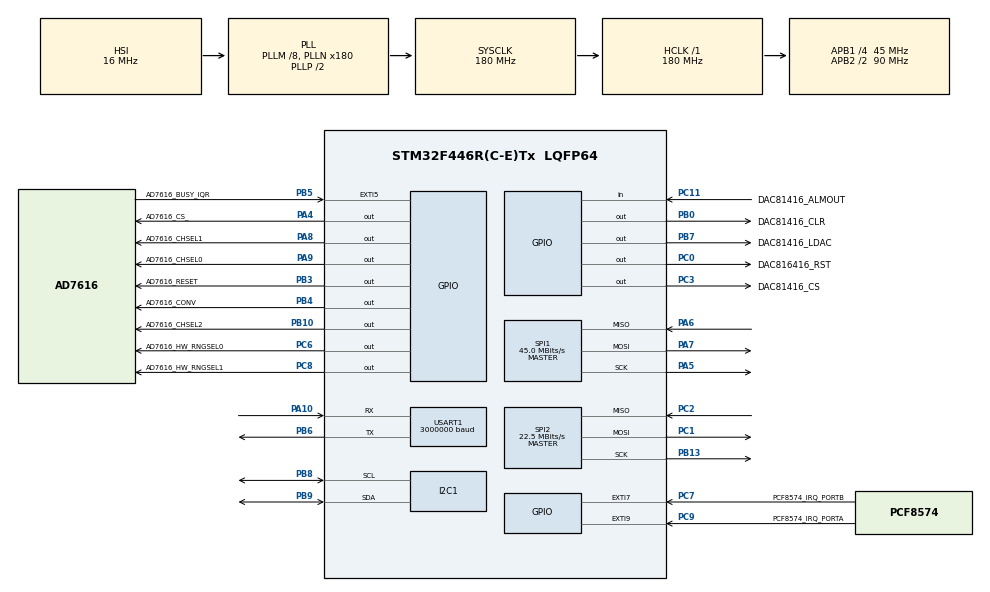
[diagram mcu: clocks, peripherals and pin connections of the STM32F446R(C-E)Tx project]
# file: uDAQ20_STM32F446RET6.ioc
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I2C1.I2C_Mode=I2C_Fast
Mcu.Family=STM32F4
Mcu.Name=STM32F446R(C-E)Tx
Mcu.Package=LQFP64
NVIC.EXTI9_5_IRQn=true\:0\:0\:false\:false\:true\:true\:true\:true
NVIC.I2C1_EV_IRQn=true\:0\:0\:false\:false\:true\:true\:true\:true
NVIC.PriorityGroup=NVIC_PRIORITYGROUP_4
NVIC.SPI1_IRQn=true\:0\:0\:false\:false\:true\:true\:true\:true
NVIC.SPI2_IRQn=true\:0\:0\:false\:false\:true\:true\:true\:true
NVIC.TIM2_IRQn=true\:0\:0\:false\:false\:true\:true\:true\:true
NVIC.TIM5_IRQn=true\:0\:0\:false\:false\:true\:true\:true\:true
NVIC.TIM7_IRQn=true\:0\:0\:false\:false\:true\:true\:true\:true
NVIC.USART1_IRQn=true\:0\:0\:false\:false\:true\:true\:true\:true
PA10.Mode=Asynchronous
PA10.Signal=USART1_RX
PA13.Mode=Serial_Wire
PA13.Signal=SYS_JTMS-SWDIO
PA14.Mode=Serial_Wire
PA14.Signal=SYS_JTCK-SWCLK
PA4.GPIO_Label=AD7616_CS_
PA4.GPIO_Speed=GPIO_SPEED_FREQ_VERY_HIGH
PA4.PinState=GPIO_PIN_SET
PA4.Signal=GPIO_Output
PA5.GPIO_PuPd=GPIO_NOPULL
PA5.Mode=Full_Duplex_Master
PA5.Signal=SPI1_SCK
PA6.GPIO_PuPd=GPIO_PULLDOWN
PA6.Mode=Full_Duplex_Master
PA6.Signal=SPI1_MISO
PA7.GPIO_PuPd=GPIO_NOPULL
PA7.Mode=Full_Duplex_Master
PA7.Signal=SPI1_MOSI
PA8.GPIO_Label=AD7616_CHSEL1
PA8.GPIO_Speed=GPIO_SPEED_FREQ_VERY_HIGH
PA8.Signal=GPIO_Output
PA9.GPIO_Label=AD7616_CHSEL0
PA9.GPIO_Speed=GPIO_SPEED_FREQ_VERY_HIGH
PA9.Signal=GPIO_Output
PB0.GPIO_Label=DAC81416_CLR
PB0.GPIO_Speed=GPIO_SPEED_FREQ_VERY_HIGH
PB0.PinState=GPIO_PIN_SET
PB0.Signal=GPIO_Output
PB10.GPIO_Label=AD7616_CHSEL2
PB10.GPIO_Speed=GPIO_SPEED_FREQ_VERY_HIGH
PB10.Signal=GPIO_Output
PB13.Mode=Full_Duplex_Master
PB13.Signal=SPI2_SCK
PB3.GPIO_Label=AD7616_RESET
PB3.GPIO_Speed=GPIO_SPEED_FREQ_VERY_HIGH
PB3.Signal=GPIO_Output
PB4.GPIO_Label=AD7616_CONV
PB4.GPIO_Speed=GPIO_SPEED_FREQ_VERY_HIGH
PB4.Signal=GPIO_Output
PB5.GPIO_Label=AD7616_BUSY_IQR
PB5.GPIO_ModeDefaultEXTI=GPIO_MODE_IT_FALLING
PB5.GPIO_PuPd=GPIO_NOPULL
PB5.Signal=GPXTI5
PB6.Mode=Asynchronous
PB6.Signal=USART1_TX
PB7.GPIO_Label=DAC81416_LDAC
PB7.GPIO_Speed=GPIO_SPEED_FREQ_VERY_HIGH
PB7.PinState=GPIO_PIN_SET
PB7.Signal=GPIO_Output
PB8.Mode=I2C
PB8.Signal=I2C1_SCL
PB9.Mode=I2C
PB9.Signal=I2C1_SDA
PC0.GPIO_Label=DAC816416_RST
PC0.GPIO_Speed=GPIO_SPEED_FREQ_VERY_HIGH
PC0.PinState=GPIO_PIN_SET
PC0.Signal=GPIO_Output
PC1.Mode=Full_Duplex_Master
PC1.Signal=SPI2_MOSI
PC11.GPIO_Label=DAC81416_ALMOUT
PC11.GPIO_PuPd=GPIO_PULLUP
PC11.Signal=GPIO_Input
PC2.Mode=Full_Duplex_Master
PC2.Signal=SPI2_MISO
PC3.GPIO_Label=DAC81416_CS
PC3.GPIO_Speed=GPIO_SPEED_FREQ_VERY_HIGH
PC3.PinState=GPIO_PIN_SET
PC3.Signal=GPIO_Output
PC6.GPIO_Label=AD7616_HW_RNGSEL0
PC6.GPIO_Speed=GPIO_SPEED_FREQ_VERY_HIGH
PC6.Signal=GPIO_Output
PC7.GPIO_Label=PCF8574_IRQ_PORTB
PC7.Signal=GPXTI7
PC8.GPIO_Label=AD7616_HW_RNGSEL1
PC8.GPIO_Speed=GPIO_SPEED_FREQ_VERY_HIGH
PC8.Signal=GPIO_Output
PC9.GPIO_Label=PCF8574_IRQ_PORTA
PC9.Signal=GPXTI9
PH0-OSC_IN.Mode=HSE-External-Oscillator
PH0-OSC_IN.Signal=RCC_OSC_IN
PH1-OSC_OUT.Mode=HSE-External-Oscillator
PH1-OSC_OUT.Signal=RCC_OSC_OUT
ProjectManager.HeapSize=0x200
ProjectManager.StackSize=0x400
ProjectManager.TargetToolchain=STM32CubeIDE
RCC.AHBFreq_Value=180000000
RCC.APB1CLKDivider=RCC_HCLK_DIV4
RCC.APB1Freq_Value=45000000
RCC.APB1TimFreq_Value=90000000
RCC.APB2CLKDivider=RCC_HCLK_DIV2
RCC.APB2Freq_Value=90000000
RCC.APB2TimFreq_Value=180000000
RCC.CortexFreq_Value=180000000
RCC.HCLKFreq_Value=180000000
RCC.HSE_VALUE=16000000
RCC.PLLM=8
RCC.PLLN=180
RCC.PLLQ=8
RCC.PLLSAIM=8
RCC.PLLSAIN=96
RCC.PLLSAIP=RCC_PLLSAIP_DIV4
RCC.SYSCLKFreq_VALUE=180000000
RCC.SYSCLKSource=RCC_SYSCLKSOURCE_PLLCLK
RCC.USBCLockSelection=RCC_CLK48CLKSOURCE_PLLSAIP
RCC.USBFreq_Value=48000000
RCC.VCOOutputFreq_Value=360000000
SPI1.BaudRatePrescaler=SPI_BAUDRATEPRESCALER_2
SPI1.CLKPhase=SPI_PHASE_2EDGE
SPI1.CalculateBaudRate=45.0 MBits/s
SPI1.DataSize=SPI_DATASIZE_8BIT
SPI1.Direction=SPI_DIRECTION_2LINES
SPI1.FirstBit=SPI_FIRSTBIT_MSB
SPI1.Mode=SPI_MODE_MASTER
SPI1.VirtualType=VM_MASTER
SPI2.BaudRatePrescaler=SPI_BAUDRATEPRESCALER_2
SPI2.CLKPhase=SPI_PHASE_2EDGE
SPI2.CLKPolarity=SPI_POLARITY_LOW
SPI2.CalculateBaudRate=22.5 MBits/s
SPI2.Direction=SPI_DIRECTION_2LINES
SPI2.FirstBit=SPI_FIRSTBIT_MSB
SPI2.Mode=SPI_MODE_MASTER
SPI2.VirtualType=VM_MASTER
TIM2.Prescaler=90-1
TIM5.Prescaler=90-1
TIM7.Prescaler=90-1
USART1.BaudRate=3000000
USART1.OverSampling=UART_OVERSAMPLING_16
USART1.VirtualMode=VM_ASYNC
VP_TIM2_VS_ClockSourceINT.Mode=Internal
VP_TIM5_VS_ClockSourceINT.Mode=Internal
VP_TIM7_VS_ClockSourceINT.Mode=Enable_Timer
board=custom

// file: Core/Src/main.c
/* USER CODE BEGIN Header */
/**
  ******************************************************************************
  * @file           : main.c
  * @brief          : Main program body
  ******************************************************************************
  * @attention
  *
  * Copyright (c) 2025 STMicroelectronics.
  * All rights reserved.
  *
  * This software is licensed under terms that can be found in the LICENSE file
  * in the root directory of this software component.
  * If no LICENSE file comes with this software, it is provided AS-IS.
  *
  ******************************************************************************
  */
/* USER CODE END Header */
#include "main.h"

/* USER CODE BEGIN Includes */
#include "Drv_AD7616.h"
#include "Drv_SoftDelay.h"
#include "DRV_DAC81416.h"
#include "DRV_PCF8574.h"
#include "Appl_ADC.h"
#include "Appl_DAC.h"
#include "Appl_GPIOExpander.h"
#include "Appl_Communication.h"
#include "ApplicationLayer.h"
/* USER CODE END Includes */

I2C_HandleTypeDef hi2c1;

SPI_HandleTypeDef hspi1;
SPI_HandleTypeDef hspi2;

TIM_HandleTypeDef htim2;
TIM_HandleTypeDef htim5;
TIM_HandleTypeDef htim7;

UART_HandleTypeDef huart1;

void SystemClock_Config(void);
static void MX_GPIO_Init(void);
static void MX_SPI1_Init(void);
static void MX_I2C1_Init(void);
static void MX_SPI2_Init(void);
static void MX_TIM5_Init(void);
static void MX_TIM2_Init(void);
static void MX_TIM7_Init(void);
static void MX_USART1_UART_Init(void);
/* USER CODE BEGIN PFP */
void HAL_TIM_PeriodElapsedCallback(TIM_HandleTypeDef *htim)
{
  /* USER CODE BEGIN Callback 0 */

  /* USER CODE END Callback 0 */
  /* USER CODE BEGIN Callback 1 */
  if (htim->Instance == TIM5)/*Timer 5 is used for start of conversion cycle for ADC AD7616*/
  {
	  ISRCallback_Ad7616_TriggerAdcConverison();/*Trigger ADC conversion*/
  }

  if (htim->Instance == TIM2)/*Timer 2 is used for DAC sync : DAC816416*/
  {
	  ISR_CallbackDAC81416_Sync();/*Trigger DAC*/
  }

  if (htim->Instance == TIM7)/*Timer 7 is used for PCF8574*/
  {
	  ISR_Callback_PCF8574SYNC();
  }
  /* USER CODE END Callback 1 */
}
/*
 * UART 1 is used for Communication
 */
UART_HandleTypeDef *GetInstance_Communication_UART1(void)
{
	return (&huart1);
}
/*
 * Tiner 2 is used for DAC output sync DAC816416
 */
TIM_HandleTypeDef *GetInstance_DAC816416SYNC_TIM2(void)
{
	return (&htim2);
}
/*
 * Tiner 5 is used for conversion start trigger for ADC AD7616
 */
TIM_HandleTypeDef *GetInstance_AD7616SOC_TIM5(void)
{
	return (&htim5);
}
/*
 * Tiner 5 is used for conversion start trigger for ADC AD7616
 */
TIM_HandleTypeDef *GetInstance_PCF8574GPIO_SYNC_TIM7(void)
{
	return (&htim7);
}
/*
 * SPI 1 is used for ADC
 */
SPI_HandleTypeDef *GetInstance_SPI1(void)
{
	return (&hspi1);
}
/*
 * SPI 2 is used for DAC
 */
SPI_HandleTypeDef *GetInstance_SPI2(void)
{
	return (&hspi2);
}
/*
 * I2C 1 is used for PCF8574
 */
I2C_HandleTypeDef* GetInstance_I2C1(void)
{
	return &hi2c1;
}
/* USER CODE END PFP */

/* USER CODE BEGIN 0 */
/*********************.HAL_GPIO_EXTI_Callback().*****************************
 .Purpose        : Callback for GPIO interrupt Rising and falling
 .Returns        :  RETURN_ERROR
					RETURN_SUCCESS
 .Note           :
 ****************************************************************************/
void HAL_GPIO_EXTI_Callback(uint16_t GPIO_Pin)
{
	if(GPIO_Pin == GPIO_PIN_5)/*ISR for AD7616 BUSY PIN*/
	{
		/* ISR for IO Start */
		ISRCallback_Ad7616_Busy();
		/*  ISR for IO End */
	}

	if(GPIO_Pin == GPIO_PIN_9)/*IRQ pin of PCF8574 module A*/
	{
		/* ISR for IO Start */
		Callback_PCF8574_IRQ_PORTA();
		/*  ISR for IO End */
	}

	if(GPIO_Pin == GPIO_PIN_7)/*IRQ pin of PCF8574 module B*/
	{
		/* ISR for IO Start */
		Callback_PCF8574_IRQ_PORTB();
		/*  ISR for IO End */
	}

}
/*********************.HAL_GPIO_EXTI_Callback().*****************************
 .Purpose        : Callback for GPIO interrupt Rising and falling
 .Returns        :  RETURN_ERROR
					RETURN_SUCCESS
 .Note           :
 ****************************************************************************/
void HAL_SPI_RxCpltCallback(SPI_HandleTypeDef * hspi)
{
	if(hspi == GetInstance_SPI1())
	{
		/*AD7616 IRQ*/
		Callback_AD7616RxComplete();
	}

	if(hspi == GetInstance_SPI2())
	{
		/*DAC81416 IRQ*/
		Callback_DAC81416RxComplete();
	}
}
/*********************.HAL_GPIO_EXTI_Callback().*****************************
 .Purpose        : Callback for GPIO interrupt Rising and falling
 .Returns        :  RETURN_ERROR
					RETURN_SUCCESS
 .Note           :
 ****************************************************************************/
void HAL_SPI_TxCpltCallback(SPI_HandleTypeDef * hspi)
{
	if(hspi == GetInstance_SPI1())
	{
		/*AD7616 IRQ*/
		Callback_AD7616TxComplete();
	}

	if(hspi == GetInstance_SPI2())
	{
		/*DAC81416 IRQ*/
		Callback_DAC81416TxComplete();
	}
}
/*********************.HAL_GPIO_EXTI_Callback().*****************************
 .Purpose        : Callback for GPIO interrupt Rising and falling
 .Returns        :  RETURN_ERROR
					RETURN_SUCCESS
 .Note           :
 ****************************************************************************/
void HAL_SPI_TxRxCpltCallback(SPI_HandleTypeDef *hspi)
{

}
/*********************.HAL_I2C_MasterTxCpltCallback().************************
 .Purpose        : Callback for transmission complete for IT & DMA
 .Returns        :  RETURN_ERROR
					RETURN_SUCCESS
 .Note           :
 ****************************************************************************/
void HAL_I2C_MasterTxCpltCallback(I2C_HandleTypeDef *hi2c)
{
	if(hi2c == GetInstance_I2C1())
	{
		/*PCF8574 IRQ*/
		Callback_I2C1_TxComplete();
	}
}
/*********************.HAL_I2C_MasterTxCpltCallback().************************
 .Purpose        : Callback for transmission complete for IT & DMA
 .Returns        :  RETURN_ERROR
					RETURN_SUCCESS
 .Note           :
 ****************************************************************************/
void HAL_I2C_MasterRxCpltCallback(I2C_HandleTypeDef *hi2c)
{
	if(hi2c == GetInstance_I2C1())
	{
		/*PCF8574 IRQ*/
		Callback_I2C1_RxComplete();
	}
}
/*********************.HAL_I2C_MasterTxCpltCallback().************************
 .Purpose        : Callback for transmission complete for IT & DMA
 .Returns        :  RETURN_ERROR
					RETURN_SUCCESS
 .Note           :
 ****************************************************************************/
void HAL_UART_TxCpltCallback(UART_HandleTypeDef *huart)
{
	if (huart->Instance == USART1)
	{
		Callback_Communication_Uart_TxCompleted();
	}
}
/* USER CODE END 0 */

int main(void)
{

  /* MCU Configuration--------------------------------------------------------*/

  /* Reset of all peripherals, Initializes the Flash interface and the Systick. */
  HAL_Init();

  /* Configure the system clock */
  SystemClock_Config();

  /* Initialize all configured peripherals */
  MX_GPIO_Init();
  MX_SPI1_Init();
  MX_I2C1_Init();
  MX_SPI2_Init();
  MX_TIM5_Init();
  MX_TIM2_Init();
  MX_TIM7_Init();
  MX_USART1_UART_Init();

  /* Infinite loop */
  /* USER CODE BEGIN WHILE */
  ApplicationLayer_Init();

  while (1)
  {

	 ApplicationLayer_Exe();
    /* USER CODE END WHILE */

  }
}

void SystemClock_Config(void)
{
  RCC_OscInitTypeDef RCC_OscInitStruct = {0};
  RCC_ClkInitTypeDef RCC_ClkInitStruct = {0};

  /** Configure the main internal regulator output voltage
  */
  __HAL_RCC_PWR_CLK_ENABLE();
  __HAL_PWR_VOLTAGESCALING_CONFIG(PWR_REGULATOR_VOLTAGE_SCALE1);

  /** Initializes the RCC Oscillators according to the specified parameters
  * in the RCC_OscInitTypeDef structure.
  */
  RCC_OscInitStruct.OscillatorType = RCC_OSCILLATORTYPE_HSI;
  RCC_OscInitStruct.HSIState = RCC_HSI_ON;
  RCC_OscInitStruct.HSICalibrationValue = RCC_HSICALIBRATION_DEFAULT;
  RCC_OscInitStruct.PLL.PLLState = RCC_PLL_ON;
  RCC_OscInitStruct.PLL.PLLSource = RCC_PLLSOURCE_HSI;
  RCC_OscInitStruct.PLL.PLLM = 8;
  RCC_OscInitStruct.PLL.PLLN = 180;
  RCC_OscInitStruct.PLL.PLLP = RCC_PLLP_DIV2;
  RCC_OscInitStruct.PLL.PLLQ = 8;
  RCC_OscInitStruct.PLL.PLLR = 2;
  if (HAL_RCC_OscConfig(&RCC_OscInitStruct) != HAL_OK)
  {
    Error_Handler();
  }

  /** Activate the Over-Drive mode
  */
  if (HAL_PWREx_EnableOverDrive() != HAL_OK)
  {
    Error_Handler();
  }

  /** Initializes the CPU, AHB and APB buses clocks
  */
  RCC_ClkInitStruct.ClockType = RCC_CLOCKTYPE_HCLK|RCC_CLOCKTYPE_SYSCLK
                              |RCC_CLOCKTYPE_PCLK1|RCC_CLOCKTYPE_PCLK2;
  RCC_ClkInitStruct.SYSCLKSource = RCC_SYSCLKSOURCE_PLLCLK;
  RCC_ClkInitStruct.AHBCLKDivider = RCC_SYSCLK_DIV1;
  RCC_ClkInitStruct.APB1CLKDivider = RCC_HCLK_DIV4;
  RCC_ClkInitStruct.APB2CLKDivider = RCC_HCLK_DIV2;

  if (HAL_RCC_ClockConfig(&RCC_ClkInitStruct, FLASH_LATENCY_5) != HAL_OK)
  {
    Error_Handler();
  }
}

static void MX_I2C1_Init(void)
{

  hi2c1.Instance = I2C1;
  hi2c1.Init.ClockSpeed = 400000;
  hi2c1.Init.DutyCycle = I2C_DUTYCYCLE_2;
  hi2c1.Init.OwnAddress1 = 0;
  hi2c1.Init.AddressingMode = I2C_ADDRESSINGMODE_7BIT;
  hi2c1.Init.DualAddressMode = I2C_DUALADDRESS_DISABLE;
  hi2c1.Init.OwnAddress2 = 0;
  hi2c1.Init.GeneralCallMode = I2C_GENERALCALL_DISABLE;
  hi2c1.Init.NoStretchMode = I2C_NOSTRETCH_DISABLE;
  if (HAL_I2C_Init(&hi2c1) != HAL_OK)
  {
    Error_Handler();
  }

}

static void MX_SPI1_Init(void)
{

  /* SPI1 parameter configuration*/
  hspi1.Instance = SPI1;
  hspi1.Init.Mode = SPI_MODE_MASTER;
  hspi1.Init.Direction = SPI_DIRECTION_2LINES;
  hspi1.Init.DataSize = SPI_DATASIZE_8BIT;
  hspi1.Init.CLKPolarity = SPI_POLARITY_LOW;
  hspi1.Init.CLKPhase = SPI_PHASE_2EDGE;
  hspi1.Init.NSS = SPI_NSS_SOFT;
  hspi1.Init.BaudRatePrescaler = SPI_BAUDRATEPRESCALER_2;
  hspi1.Init.FirstBit = SPI_FIRSTBIT_MSB;
  hspi1.Init.TIMode = SPI_TIMODE_DISABLE;
  hspi1.Init.CRCCalculation = SPI_CRCCALCULATION_DISABLE;
  hspi1.Init.CRCPolynomial = 10;
  if (HAL_SPI_Init(&hspi1) != HAL_OK)
  {
    Error_Handler();
  }

}

static void MX_SPI2_Init(void)
{

  /* SPI2 parameter configuration*/
  hspi2.Instance = SPI2;
  hspi2.Init.Mode = SPI_MODE_MASTER;
  hspi2.Init.Direction = SPI_DIRECTION_2LINES;
  hspi2.Init.DataSize = SPI_DATASIZE_8BIT;
  hspi2.Init.CLKPolarity = SPI_POLARITY_LOW;
  hspi2.Init.CLKPhase = SPI_PHASE_2EDGE;
  hspi2.Init.NSS = SPI_NSS_SOFT;
  hspi2.Init.BaudRatePrescaler = SPI_BAUDRATEPRESCALER_2;
  hspi2.Init.FirstBit = SPI_FIRSTBIT_MSB;
  hspi2.Init.TIMode = SPI_TIMODE_DISABLE;
  hspi2.Init.CRCCalculation = SPI_CRCCALCULATION_DISABLE;
  hspi2.Init.CRCPolynomial = 10;
  if (HAL_SPI_Init(&hspi2) != HAL_OK)
  {
    Error_Handler();
  }

}

static void MX_TIM2_Init(void)
{

  TIM_ClockConfigTypeDef sClockSourceConfig = {0};
  TIM_MasterConfigTypeDef sMasterConfig = {0};

  htim2.Instance = TIM2;
  htim2.Init.Prescaler = 90-1;
  htim2.Init.CounterMode = TIM_COUNTERMODE_UP;
  htim2.Init.Period = 4294967295;
  htim2.Init.ClockDivision = TIM_CLOCKDIVISION_DIV1;
  htim2.Init.AutoReloadPreload = TIM_AUTORELOAD_PRELOAD_DISABLE;
  if (HAL_TIM_Base_Init(&htim2) != HAL_OK)
  {
    Error_Handler();
  }
  sClockSourceConfig.ClockSource = TIM_CLOCKSOURCE_INTERNAL;
  if (HAL_TIM_ConfigClockSource(&htim2, &sClockSourceConfig) != HAL_OK)
  {
    Error_Handler();
  }
  sMasterConfig.MasterOutputTrigger = TIM_TRGO_RESET;
  sMasterConfig.MasterSlaveMode = TIM_MASTERSLAVEMODE_DISABLE;
  if (HAL_TIMEx_MasterConfigSynchronization(&htim2, &sMasterConfig) != HAL_OK)
  {
    Error_Handler();
  }

}

static void MX_TIM5_Init(void)
{

  TIM_ClockConfigTypeDef sClockSourceConfig = {0};
  TIM_MasterConfigTypeDef sMasterConfig = {0};

  htim5.Instance = TIM5;
  htim5.Init.Prescaler = 90-1;
  htim5.Init.CounterMode = TIM_COUNTERMODE_UP;
  htim5.Init.Period = 4294967295;
  htim5.Init.ClockDivision = TIM_CLOCKDIVISION_DIV1;
  htim5.Init.AutoReloadPreload = TIM_AUTORELOAD_PRELOAD_DISABLE;
  if (HAL_TIM_Base_Init(&htim5) != HAL_OK)
  {
    Error_Handler();
  }
  sClockSourceConfig.ClockSource = TIM_CLOCKSOURCE_INTERNAL;
  if (HAL_TIM_ConfigClockSource(&htim5, &sClockSourceConfig) != HAL_OK)
  {
    Error_Handler();
  }
  sMasterConfig.MasterOutputTrigger = TIM_TRGO_RESET;
  sMasterConfig.MasterSlaveMode = TIM_MASTERSLAVEMODE_DISABLE;
  if (HAL_TIMEx_MasterConfigSynchronization(&htim5, &sMasterConfig) != HAL_OK)
  {
    Error_Handler();
  }

}

static void MX_TIM7_Init(void)
{

  TIM_MasterConfigTypeDef sMasterConfig = {0};

  htim7.Instance = TIM7;
  htim7.Init.Prescaler = 90-1;
  htim7.Init.CounterMode = TIM_COUNTERMODE_UP;
  htim7.Init.Period = 65535;
  htim7.Init.AutoReloadPreload = TIM_AUTORELOAD_PRELOAD_DISABLE;
  if (HAL_TIM_Base_Init(&htim7) != HAL_OK)
  {
    Error_Handler();
  }
  sMasterConfig.MasterOutputTrigger = TIM_TRGO_RESET;
  sMasterConfig.MasterSlaveMode = TIM_MASTERSLAVEMODE_DISABLE;
  if (HAL_TIMEx_MasterConfigSynchronization(&htim7, &sMasterConfig) != HAL_OK)
  {
    Error_Handler();
  }

}

static void MX_USART1_UART_Init(void)
{

  huart1.Instance = USART1;
  huart1.Init.BaudRate = 3000000;
  huart1.Init.WordLength = UART_WORDLENGTH_8B;
  huart1.Init.StopBits = UART_STOPBITS_1;
  huart1.Init.Parity = UART_PARITY_NONE;
  huart1.Init.Mode = UART_MODE_TX_RX;
  huart1.Init.HwFlowCtl = UART_HWCONTROL_NONE;
  huart1.Init.OverSampling = UART_OVERSAMPLING_16;
  if (HAL_UART_Init(&huart1) != HAL_OK)
  {
    Error_Handler();
  }

}

static void MX_GPIO_Init(void)
{
  GPIO_InitTypeDef GPIO_InitStruct = {0};

  /* GPIO Ports Clock Enable */
  __HAL_RCC_GPIOH_CLK_ENABLE();
  __HAL_RCC_GPIOC_CLK_ENABLE();
  __HAL_RCC_GPIOA_CLK_ENABLE();
  __HAL_RCC_GPIOB_CLK_ENABLE();

  /*Configure GPIO pin Output Level */
  HAL_GPIO_WritePin(GPIOC, DAC816416_RST_Pin|DAC81416_CS_Pin, GPIO_PIN_SET);

  /*Configure GPIO pin Output Level */
  HAL_GPIO_WritePin(AD7616_CS__GPIO_Port, AD7616_CS__Pin, GPIO_PIN_SET);

  /*Configure GPIO pin Output Level */
  HAL_GPIO_WritePin(GPIOB, DAC81416_CLR_Pin|DAC81416_LDAC_Pin, GPIO_PIN_SET);

  /*Configure GPIO pin Output Level */
  HAL_GPIO_WritePin(GPIOB, AD7616_CHSEL2_Pin|AD7616_RESET_Pin|AD7616_CONV_Pin, GPIO_PIN_RESET);

  /*Configure GPIO pin Output Level */
  HAL_GPIO_WritePin(GPIOC, AD7616_HW_RNGSEL0_Pin|AD7616_HW_RNGSEL1_Pin, GPIO_PIN_RESET);

  /*Configure GPIO pin Output Level */
  HAL_GPIO_WritePin(GPIOA, AD7616_CHSEL1_Pin|AD7616_CHSEL0_Pin, GPIO_PIN_RESET);

  /*Configure GPIO pins : DAC816416_RST_Pin DAC81416_CS_Pin AD7616_HW_RNGSEL0_Pin AD7616_HW_RNGSEL1_Pin */
  GPIO_InitStruct.Pin = DAC816416_RST_Pin|DAC81416_CS_Pin|AD7616_HW_RNGSEL0_Pin|AD7616_HW_RNGSEL1_Pin;
  GPIO_InitStruct.Mode = GPIO_MODE_OUTPUT_PP;
  GPIO_InitStruct.Pull = GPIO_NOPULL;
  GPIO_InitStruct.Speed = GPIO_SPEED_FREQ_VERY_HIGH;
  HAL_GPIO_Init(GPIOC, &GPIO_InitStruct);

  /*Configure GPIO pins : AD7616_CS__Pin AD7616_CHSEL1_Pin AD7616_CHSEL0_Pin */
  GPIO_InitStruct.Pin = AD7616_CS__Pin|AD7616_CHSEL1_Pin|AD7616_CHSEL0_Pin;
  GPIO_InitStruct.Mode = GPIO_MODE_OUTPUT_PP;
  GPIO_InitStruct.Pull = GPIO_NOPULL;
  GPIO_InitStruct.Speed = GPIO_SPEED_FREQ_VERY_HIGH;
  HAL_GPIO_Init(GPIOA, &GPIO_InitStruct);

  /*Configure GPIO pins : DAC81416_CLR_Pin AD7616_CHSEL2_Pin AD7616_RESET_Pin AD7616_CONV_Pin
                           DAC81416_LDAC_Pin */
  GPIO_InitStruct.Pin = DAC81416_CLR_Pin|AD7616_CHSEL2_Pin|AD7616_RESET_Pin|AD7616_CONV_Pin
                          |DAC81416_LDAC_Pin;
  GPIO_InitStruct.Mode = GPIO_MODE_OUTPUT_PP;
  GPIO_InitStruct.Pull = GPIO_NOPULL;
  GPIO_InitStruct.Speed = GPIO_SPEED_FREQ_VERY_HIGH;
  HAL_GPIO_Init(GPIOB, &GPIO_InitStruct);

  /*Configure GPIO pins : PCF8574_IRQ_PORTB_Pin PCF8574_IRQ_PORTA_Pin */
  GPIO_InitStruct.Pin = PCF8574_IRQ_PORTB_Pin|PCF8574_IRQ_PORTA_Pin;
  GPIO_InitStruct.Mode = GPIO_MODE_IT_RISING;
  GPIO_InitStruct.Pull = GPIO_NOPULL;
  HAL_GPIO_Init(GPIOC, &GPIO_InitStruct);

  /*Configure GPIO pin : DAC81416_ALMOUT_Pin */
  GPIO_InitStruct.Pin = DAC81416_ALMOUT_Pin;
  GPIO_InitStruct.Mode = GPIO_MODE_INPUT;
  GPIO_InitStruct.Pull = GPIO_PULLUP;
  HAL_GPIO_Init(DAC81416_ALMOUT_GPIO_Port, &GPIO_InitStruct);

  /*Configure GPIO pin : AD7616_BUSY_IQR_Pin */
  GPIO_InitStruct.Pin = AD7616_BUSY_IQR_Pin;
  GPIO_InitStruct.Mode = GPIO_MODE_IT_FALLING;
  GPIO_InitStruct.Pull = GPIO_NOPULL;
  HAL_GPIO_Init(AD7616_BUSY_IQR_GPIO_Port, &GPIO_InitStruct);

  /* EXTI interrupt init*/
  HAL_NVIC_SetPriority(EXTI9_5_IRQn, 0, 0);
  HAL_NVIC_EnableIRQ(EXTI9_5_IRQn);

}

void Error_Handler(void)
{
  __disable_irq();
  while (1)
  {
  }
}
